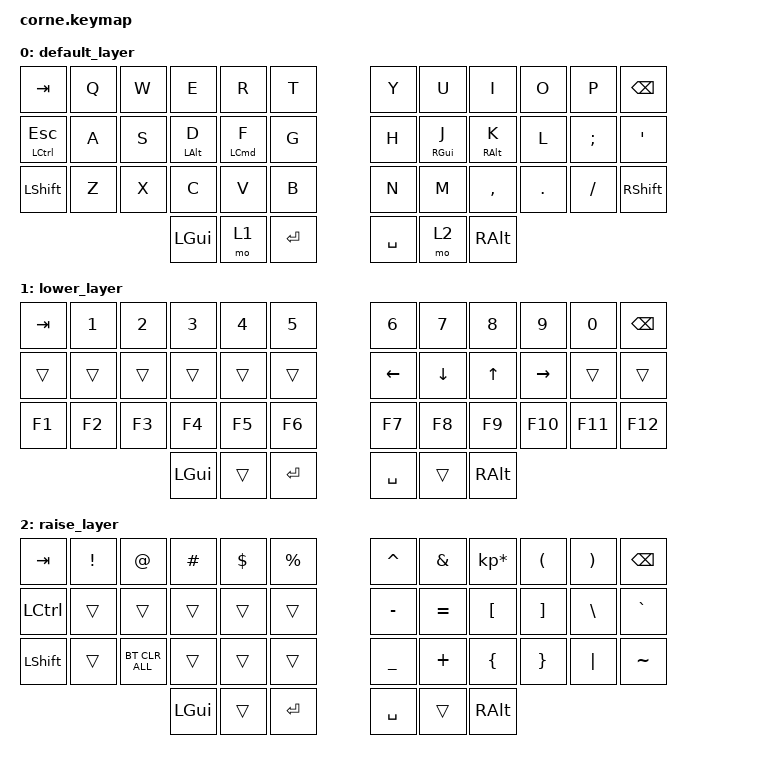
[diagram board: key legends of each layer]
#include <behaviors.dtsi>
#include <dt-bindings/zmk/bt.h>
#include <dt-bindings/zmk/keys.h>

/ {
    behaviors {
        hml: homerow_mod_left {
            compatible = "zmk,behavior-hold-tap";
            label = "HML";
            bindings = <&kp>, <&kp>;

            #binding-cells = <2>;
            tapping-term-ms = <200>;
            hold-trigger-key-positions = <13 0 1 2 0 1 2 3 12 13 14 15 24 25 26 27 36 4 5 16 17 28 29 36 37 38>;
        };

        hmr: homerow_mod_right {
            compatible = "zmk,behavior-hold-tap";
            label = "HMR";
            bindings = <&kp>, <&kp>;

            #binding-cells = <2>;
            tapping-term-ms = <200>;
            hold-trigger-key-positions = <6 7 8 9 10 11 18 19 20 21 22 23 30 31 32 33 34 35 39 40 41>;
        };
    };

    keymap {
        compatible = "zmk,keymap";

        default_layer {
            // -----------------------------------------------------------------------------------------
            // |  TAB |  Q  |  W  |  E  |  R  |  T  |   |  Y  |  U   |  I  |  O  |  P  | BKSP |
            // | CTRL |  A  |  S  |  D  |  F  |  G  |   |  H  |  J   |  K  |  L  |  ;  |  '   |
            // | SHFT |  Z  |  X  |  C  |  V  |  B  |   |  N  |  M   |  ,  |  .  |  /  | SHFT |
            //                    | GUI | LWR | ENT |   | SPC | RSE  | ALT |

            bindings = <
&kp TAB               &kp Q  &kp W  &kp E            &kp R                &kp T      &kp Y      &kp U             &kp I             &kp O    &kp P     &kp BSPC
&mt LEFT_CONTROL ESC  &kp A  &kp S  &hml LEFT_ALT D  &hml LEFT_COMMAND F  &kp G      &kp H      &hmr RIGHT_GUI J  &hmr RIGHT_ALT K  &kp L    &kp SEMI  &kp SQT
&kp LSHFT             &kp Z  &kp X  &kp C            &kp V                &kp B      &kp N      &kp M             &kp COMMA         &kp DOT  &kp FSLH  &kp RIGHT_SHIFT
                                    &kp LGUI         &mo 1                &kp RET    &kp SPACE  &mo 2             &kp RALT
            >;
        };

        lower_layer {
            // -----------------------------------------------------------------------------------------
            // |  TAB |  1  |  2  |  3  |  4  |  5  |   |  6  |  7  |  8  |  9  |  0  | BKSP |
            // | BTCLR| BT1 | BT2 | BT3 | BT4 | BT5 |   | LFT | DWN |  UP | RGT |     |      |
            // | SHFT |     |     |     |     |     |   |     |     |     |     |     |      |
            //                    | GUI |     | ENT |   | SPC |     | ALT |

            bindings = <
&kp TAB     &kp N1        &kp N2        &kp N3        &kp N4        &kp N5            &kp N6     &kp N7    &kp N8    &kp N9     &kp N0   &kp BSPC
&trans      &trans        &trans        &trans        &trans        &trans            &kp LEFT   &kp DOWN  &kp UP    &kp RIGHT  &trans   &trans
&kp F1      &kp F2        &kp F3        &kp F4        &kp F5        &kp F6            &kp F7     &kp F8    &kp F9    &kp F10    &kp F11  &kp F12
                                        &kp LGUI      &trans        &kp RET           &kp SPACE  &trans    &kp RALT
            >;
        };

        raise_layer {
            // -----------------------------------------------------------------------------------------
            // |  TAB |  !  |  @  |  #  |  $  |  %  |   |  ^  |  &  |  *  |  (  |  )  | BKSP |
            // | CTRL |     |     |     |     |     |   |  -  |  =  |  [  |  ]  |  \  |  `   |
            // | SHFT |     |     |     |     |     |   |  _  |  +  |  {  |  }  | "|" |  ~   |
            //                    | GUI |     | ENT |   | SPC |     | ALT |

            bindings = <
&kp TAB    &kp EXCL  &kp AT  &kp HASH  &kp DLLR  &kp PRCNT    &kp CARET  &kp AMPS   &kp KP_MULTIPLY  &kp LPAR  &kp RPAR  &kp BSPC
&kp LCTRL  &trans    &trans  &trans    &trans    &trans       &kp MINUS  &kp EQUAL  &kp LBKT         &kp RBKT  &kp BSLH  &kp GRAVE
&kp LSHFT  &trans    &bt BT_CLR_ALL    &trans    &trans       &trans     &kp UNDER  &kp PLUS         &kp LBRC  &kp RBRC  &kp PIPE  &kp TILDE
                             &kp LGUI  &trans    &kp RET      &kp SPACE  &trans     &kp RALT
            >;
        };
    };
};

